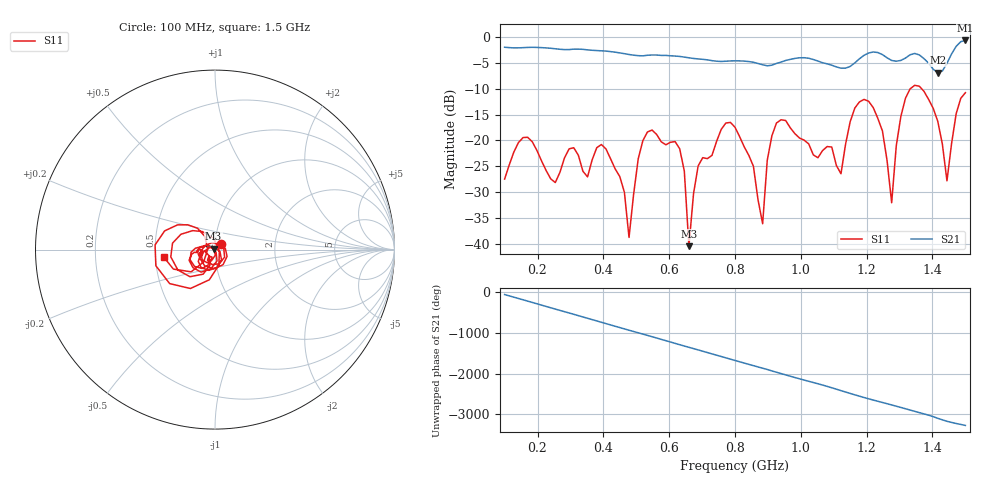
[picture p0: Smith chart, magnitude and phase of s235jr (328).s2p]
! NanoVNA-App
! Date: 2025-09-25 15:06:43
! Start: 100MHz Stop: 1,5GHz Points: 101
! S-Parameter data: F S11 S21 S12 S22
# Hz S RI R 50
!  Frequency  S11_Real  S11_Imag  S21_Real  S21_Imag  S12_Real  S12_Imag  S22_Real  S22_Imag
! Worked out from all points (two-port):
!   101 points, 100 MHz to 1.5 GHz, reference 50 ohm
!   highest |S21| = -0.65 dB at 1.5 GHz (marker M1); lowest = -6.9 dB at 1.416 GHz (marker M2)
!   |S21| within 3 dB of the highest: start of sweep to 613.3 MHz; 1.189 GHz to 1.254 GHz (64.51 MHz wide, 5.28 % of centre) (the widest 2 of 4)
!   lowest |S11| = -40.5 dB at 660 MHz (marker M3), VSWR 1.02, Z = 49.2 + j0.536 ohm
!   |S11| at or under -10 dB: start of sweep to 1.332 GHz; 1.367 GHz to end of sweep
!   S12 and S22 are empty: the file has one direction only
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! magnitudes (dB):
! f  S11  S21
! 100 MHz  -27.5  -2.0
! 156 MHz  -19.4  -2.0
! 338 MHz  -26.0  -2.4
! 408 MHz  -21.6  -2.7
! 478 MHz  -38.8  -3.4
! 520 MHz  -20.0  -3.6
! 576 MHz  -20.3  -3.5
! 632 MHz  -21.6  -3.7
! 660 MHz  -40.5  -4.0
! 688 MHz  -24.9  -4.2
! 800 MHz  -17.4  -4.6
! 884 MHz  -36.1  -5.4
! 926 MHz  -16.6  -5.1
! 1.038 GHz  -22.8  -4.3
! 1.122 GHz  -26.4  -6.0
! 1.206 GHz  -12.4  -3.1
! 1.248 GHz  -18.2  -3.4
! 1.276 GHz  -32.0  -4.5
! 1.332 GHz  -10.0  -3.4
! 1.416 GHz  -16.3  -6.9
! 1.444 GHz  -27.8  -5.1
! 1.5 GHz  -10.8  -0.7
